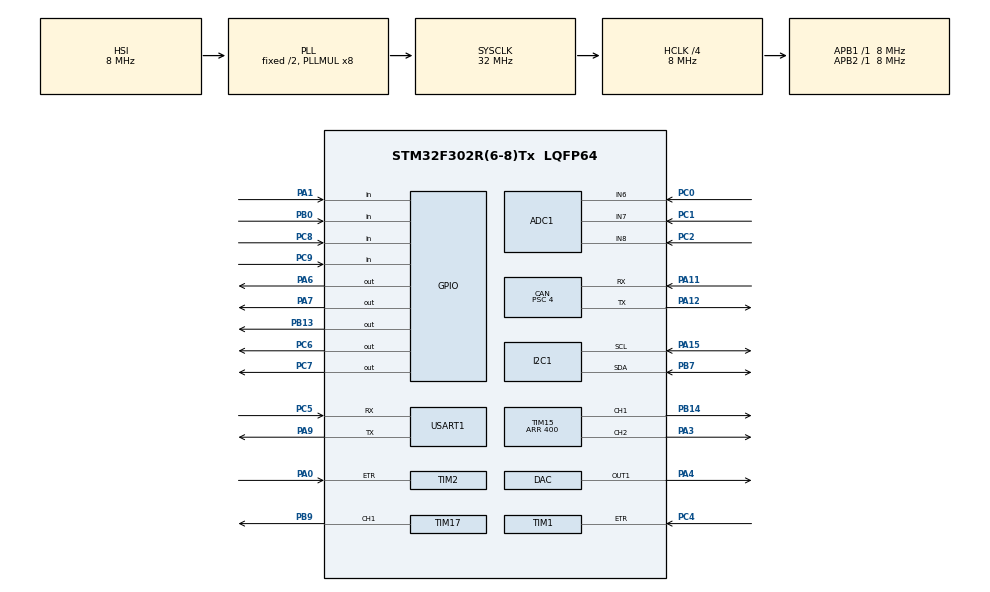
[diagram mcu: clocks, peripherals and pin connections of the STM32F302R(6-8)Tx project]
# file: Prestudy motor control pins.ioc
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ADC1.Channel-0\#ChannelRegularConversion=ADC_CHANNEL_8
ADC1.Channel-1\#ChannelRegularConversion=ADC_CHANNEL_7
ADC1.Channel-3\#ChannelRegularConversion=ADC_CHANNEL_6
ADC1.DMAContinuousRequests=ENABLE
ADC1.ExternalTrigConv=ADC_EXTERNALTRIGCONV_T15_TRGO
ADC1.NbrOfConversion=3
ADC1.NbrOfConversionFlag=1
ADC1.Offset-0\#ChannelRegularConversion=0
ADC1.Offset-1\#ChannelRegularConversion=0
ADC1.Offset-3\#ChannelRegularConversion=0
ADC1.OffsetNumber-0\#ChannelRegularConversion=ADC_OFFSET_NONE
ADC1.OffsetNumber-1\#ChannelRegularConversion=ADC_OFFSET_NONE
ADC1.OffsetNumber-3\#ChannelRegularConversion=ADC_OFFSET_NONE
ADC1.Rank-0\#ChannelRegularConversion=1
ADC1.Rank-1\#ChannelRegularConversion=2
ADC1.Rank-3\#ChannelRegularConversion=3
ADC1.SamplingTime-0\#ChannelRegularConversion=ADC_SAMPLETIME_61CYCLES_5
ADC1.SamplingTime-1\#ChannelRegularConversion=ADC_SAMPLETIME_19CYCLES_5
ADC1.SamplingTime-3\#ChannelRegularConversion=ADC_SAMPLETIME_19CYCLES_5
ADC1.SamplingTimeOPAMP-3\#ChannelRegularConversion=ADC_SAMPLETIME_7CYCLES_5
ADC1.SubFamily=STM32F302x8
ADC1.master=1
CAN.BS1=CAN_BS1_6TQ
CAN.CalculateBaudRate=250000
CAN.CalculateTimeBit=4000.00
CAN.CalculateTimeQuantum=500.0
CAN.Prescaler=4
Dma.ADC1.0.Direction=DMA_PERIPH_TO_MEMORY
Dma.ADC1.0.Instance=DMA1_Channel1
Dma.ADC1.0.MemDataAlignment=DMA_MDATAALIGN_HALFWORD
Dma.ADC1.0.MemInc=DMA_MINC_ENABLE
Dma.ADC1.0.Mode=DMA_CIRCULAR
Dma.ADC1.0.PeriphDataAlignment=DMA_PDATAALIGN_HALFWORD
Dma.ADC1.0.PeriphInc=DMA_PINC_DISABLE
Dma.ADC1.0.Priority=DMA_PRIORITY_MEDIUM
Dma.Request0=ADC1
Mcu.Family=STM32F3
Mcu.Name=STM32F302R(6-8)Tx
Mcu.Package=LQFP64
NVIC.PriorityGroup=NVIC_PRIORITYGROUP_4
NVIC.USB_LP_CAN_RX0_IRQn=true\:0\:0\:false\:false\:true\:true\:true
PA0.Signal=S_TIM2_CH1_ETR
PA1.Signal=GPIO_Input
PA11.Mode=CAN_Activate
PA11.Signal=CAN_RX
PA12.Mode=CAN_Activate
PA12.Signal=CAN_TX
PA13.Mode=Serial_Wire
PA13.Signal=SYS_JTMS-SWDIO
PA14.Mode=Serial_Wire
PA14.Signal=SYS_JTCK-SWCLK
PA15.Mode=I2C
PA15.Signal=I2C1_SCL
PA3.Signal=S_TIM15_CH2
PA4.Signal=COMP_DAC1_group
PA6.GPIO_PuPd=GPIO_PULLDOWN
PA6.Signal=GPIO_Output
PA7.GPIO_PuPd=GPIO_PULLDOWN
PA7.Signal=GPIO_Output
PA9.Mode=Asynchronous
PA9.Signal=USART1_TX
PB0.Signal=GPIO_Input
PB13.Signal=GPIO_Output
PB14.Signal=S_TIM15_CH1
PB3.Signal=SYS_JTDO-TRACESWO
PB7.Mode=I2C
PB7.Signal=I2C1_SDA
PB9.Signal=S_TIM17_CH1
PC0.Signal=ADCx_IN6
PC1.Signal=ADCx_IN7
PC2.Signal=ADCx_IN8
PC4.Signal=S_TIM1_ETR
PC5.Mode=Asynchronous
PC5.Signal=USART1_RX
PC6.GPIO_PuPd=GPIO_PULLDOWN
PC6.Signal=GPIO_Output
PC7.GPIO_PuPd=GPIO_PULLDOWN
PC7.Signal=GPIO_Output
PC8.GPIO_PuPd=GPIO_PULLUP
PC8.Signal=GPIO_Input
PC9.GPIO_PuPd=GPIO_PULLUP
PC9.Signal=GPIO_Input
ProjectManager.HeapSize=0x200
ProjectManager.StackSize=0x400
ProjectManager.TargetToolchain=STM32CubeIDE
RCC.ADC12PRES=RCC_ADC1PLLCLK_DIV2
RCC.AHBCLKDivider=RCC_SYSCLK_DIV4
RCC.AHBFreq_Value=8000000
RCC.APB1Freq_Value=8000000
RCC.APB1TimFreq_Value=8000000
RCC.APB2Freq_Value=8000000
RCC.APB2TimFreq_Value=8000000
RCC.CortexFreq_Value=8000000
RCC.HCLKFreq_Value=8000000
RCC.HSE_VALUE=8000000
RCC.HSI_VALUE=8000000
RCC.LSE_VALUE=32768
RCC.PLLMUL=RCC_PLL_MUL8
RCC.SYSCLKFreq_VALUE=32000000
RCC.SYSCLKSourceVirtual=RCC_SYSCLKSOURCE_PLLCLK
RCC.USBFreq_Value=32000000
SH.ADCx_IN6.0=ADC1_IN6,IN6-Single-Ended
SH.ADCx_IN7.0=ADC1_IN7,IN7-Single-Ended
SH.ADCx_IN8.0=ADC1_IN8,IN8-Single-Ended
SH.COMP_DAC1_group.0=DAC_OUT1,DAC_OUT1
SH.S_TIM15_CH1.0=TIM15_CH1,PWM Generation1 CH1
SH.S_TIM15_CH2.0=TIM15_CH2,PWM Generation2 CH2
SH.S_TIM17_CH1.0=TIM17_CH1,PWM Generation1 CH1
SH.S_TIM1_ETR.0=TIM1_ETR,TriggerSource_ETR
SH.S_TIM2_CH1_ETR.0=TIM2_ETR,TriggerSource_ETR
TIM1.TIM_MasterSlaveMode=TIM_MASTERSLAVEMODE_DISABLE
TIM15.AutoReloadPreload=TIM_AUTORELOAD_PRELOAD_ENABLE
TIM15.Channel-PWM\ Generation1\ CH1=TIM_CHANNEL_1
TIM15.Channel-PWM\ Generation2\ CH2=TIM_CHANNEL_2
TIM15.OCMode_PWM-PWM\ Generation1\ CH1=TIM_OCMODE_PWM1
TIM15.OCMode_PWM-PWM\ Generation2\ CH2=TIM_OCMODE_PWM1
TIM15.Period=400
TIM15.Pulse-PWM\ Generation1\ CH1=1200
TIM15.Pulse-PWM\ Generation2\ CH2=200
TIM15.TIM_MasterOutputTrigger=TIM_TRGO_UPDATE
TIM17.Channel=TIM_CHANNEL_1
USART1.VirtualMode-Asynchronous=VM_ASYNC
VP_TIM16_VS_ClockSourceINT.Mode=Enable_Timer
VP_TIM17_VS_ClockSourceINT.Mode=Enable_Timer
VP_TIM1_VS_ControllerModeClock.Mode=Clock Mode
VP_TIM2_VS_ControllerModeClock.Mode=Clock Mode
board=custom

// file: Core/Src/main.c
/* USER CODE BEGIN Header */
/**
  ******************************************************************************
  * @file           : main.c
  * @brief          : Main program body
  ******************************************************************************
  * @attention
  *
  * <h2><center>&copy; Copyright (c) 2021 STMicroelectronics.
  * All rights reserved.</center></h2>
  *
  * This software component is licensed by ST under BSD 3-Clause license,
  * the "License"; You may not use this file except in compliance with the
  * License. You may obtain a copy of the License at:
  *                        opensource.org/licenses/BSD-3-Clause
  *
  ******************************************************************************
  */
/* USER CODE END Header */
#include "main.h"

ADC_HandleTypeDef hadc1;
DMA_HandleTypeDef hdma_adc1;

CAN_HandleTypeDef hcan;

DAC_HandleTypeDef hdac;

I2C_HandleTypeDef hi2c1;

TIM_HandleTypeDef htim1;
TIM_HandleTypeDef htim2;
TIM_HandleTypeDef htim15;
TIM_HandleTypeDef htim16;
TIM_HandleTypeDef htim17;

UART_HandleTypeDef huart1;

/* USER CODE BEGIN PV */
CAN_FilterTypeDef sFilterConfig;
CAN_TxHeaderTypeDef TxMessage;
CAN_RxHeaderTypeDef RxMessage;
uint8_t               TxData[8];
uint8_t               RxData[8];
uint32_t              TxMailbox;
/* USER CODE END PV */

void SystemClock_Config(void);
static void MX_GPIO_Init(void);
static void MX_DMA_Init(void);
static void MX_ADC1_Init(void);
static void MX_CAN_Init(void);
static void MX_DAC_Init(void);
static void MX_TIM1_Init(void);
static void MX_TIM15_Init(void);
static void MX_TIM16_Init(void);
static void MX_TIM17_Init(void);
static void MX_I2C1_Init(void);
static void MX_USART1_UART_Init(void);
static void MX_TIM2_Init(void);
/* USER CODE BEGIN PFP */
#define OVERVOLTAGE 29.2
#define ID 1

uint16_t adcBuffer[3];
uint16_t counter = 0;
uint8_t accl = 28;
uint8_t decl = 20;
uint32_t pwm_target_left = 400;
uint32_t pwm_target_right = 400;
uint32_t pid_pwm_target_left = 0;
uint32_t pid_pwm_target_right = 0;
uint32_t pwm_left = 400;
uint32_t pwm_right = 400;
uint32_t pid_pwm_right = 400;
uint32_t pid_pwm_left = 400;
uint8_t GD_FAULT = 0;
uint8_t OV_FAULT = 0;
uint8_t TIMEOUT = 0;
long timertick = 0;
long old_timertick_accl = 0;
long old_timertick_decl = 0;
long temp_timertick = 0;
long timeout_timertick = 0;
int speed_left = 0;
int speed_right = 0;
int previous_speed_left = 0;
int previous_speed_right = 0;

float KP = 0.0;
float KI = 0.0;
float KD = 0.0;
int sampleTime = 0;
int maxPIDlevel = 400;
int minPIDlevel = 0;
int IntegralLeft = 0;
int IntegralRight = 0;

int offsetLeftMotor = 0;
int offsetRightMotor = 0;

/* USER CODE END PFP */

/* USER CODE BEGIN 0 */

/*
void HAL_ADC_ConvCpltCallback(ADC_HandleTypeDef* hadc)
{
	//HAL_GPIO_TogglePin (GPIOB, GPIO_PIN_13);
}
*/

void initPID(float KPvalue, float KIvalue, float KDvalue, int sampleTimeValue)
{
	KP = KPvalue;
	KI = KIvalue;
	KD = KDvalue;
	sampleTime = sampleTimeValue;
}

int calculatePIDLeft(int feedback, int target)
{
	int error = target - feedback;
	IntegralLeft += error;
	if((IntegralLeft * KI) > maxPIDlevel)
	{
		IntegralLeft = maxPIDlevel/KI;
	}
	if(target == 0)
	{
		IntegralLeft = 0;
	}
	int correctionvalue = (KP * error + KI * IntegralLeft);
	if(correctionvalue > maxPIDlevel) correctionvalue = maxPIDlevel;
	else if (correctionvalue < minPIDlevel) correctionvalue = minPIDlevel;
	return correctionvalue;
}

int calculatePIDRight(int feedback, int target)
{
	int error = target - feedback;
	IntegralRight += error;
	if((IntegralRight * KI) > 400)
	{
		IntegralRight = maxPIDlevel/KI;
	}
	if(target == 0)
	{
			IntegralRight = 0;
	}
	int correctionvalue = (KP * error + KI * IntegralRight);
	if(correctionvalue > maxPIDlevel) correctionvalue = maxPIDlevel;
	else if (correctionvalue < minPIDlevel) correctionvalue = minPIDlevel;
	return correctionvalue;
}

void resetTimeout() {
	timeout_timertick = HAL_GetTick();
}

float getInputVoltage()
{
	uint32_t temp = adcBuffer[0];
	uint32_t shuntVoltage = (801 * temp);
	float voltage = (shuntVoltage * 18.414) / 1000000;
	return voltage;
}

void sendACK()
{
	uint32_t mb;
	uint8_t data[] = {ID, 1};
	TxMessage.StdId = 0;
	TxMessage.IDE = CAN_ID_STD;
	TxMessage.RTR = CAN_RTR_DATA;
	TxMessage.DLC = 2;
	TxMessage.TransmitGlobalTime = DISABLE;
	if (HAL_CAN_AddTxMessage(&hcan, &TxMessage, data, &mb) != HAL_OK) {
	    Error_Handler();
	}
}

void sendNACK()
{
	uint32_t mb;
	uint8_t data[] = {ID, 0};
	TxMessage.StdId = 0;
	TxMessage.IDE = CAN_ID_STD;
	TxMessage.RTR = CAN_RTR_DATA;
	TxMessage.DLC = 2;
	TxMessage.TransmitGlobalTime = DISABLE;
	if (HAL_CAN_AddTxMessage(&hcan, &TxMessage, data, &mb) != HAL_OK) {
	    Error_Handler();
	}
}

void setPIDPWMLeft(int PWM)
{
	pwm_left = PWM;
	uint32_t PWM_local = 0;
	HAL_GPIO_WritePin(GPIOC, GPIO_PIN_6, GPIO_PIN_SET);
	if(PWM >= 430)
	{
		HAL_GPIO_WritePin(GPIOA, GPIO_PIN_6, GPIO_PIN_RESET);
		PWM_local = PWM - 400;
	}
	else if(PWM < 370)
	{
		HAL_GPIO_WritePin(GPIOA, GPIO_PIN_6, GPIO_PIN_SET);
		PWM_local = 400 - PWM;
	}
	int temp = PWM_local + 1;
	if(temp > 401)
	{
		temp = 401;
	}
	if(temp < 20)
	{
		temp = 0;
	}
	pid_pwm_target_left = temp;
}

void setPIDPWMRight(int PWM)
{
	pwm_right = PWM;
	uint32_t PWM_local = 0;
	HAL_GPIO_WritePin(GPIOC, GPIO_PIN_7, GPIO_PIN_SET);
	if(PWM >= 430)
	{
		HAL_GPIO_WritePin(GPIOA, GPIO_PIN_7, GPIO_PIN_RESET);
		PWM_local = PWM - 400;
	}
	else if(PWM < 370)
	{
		HAL_GPIO_WritePin(GPIOA, GPIO_PIN_7, GPIO_PIN_SET);
		PWM_local = 400 - PWM;
	}
	int temp = PWM_local + 1;
	if(temp > 401)
	{
		temp = 401;
	}
	if(temp < 20)
	{
		temp = 0;
	}
	pid_pwm_target_right = temp;
}

void setPWMLeft(int PWM)
{
	pwm_left = PWM;
	uint32_t PWM_local = 0;
	HAL_GPIO_WritePin(GPIOC, GPIO_PIN_6, GPIO_PIN_SET);
	if(PWM >= 400)
	{
		HAL_GPIO_WritePin(GPIOA, GPIO_PIN_6, GPIO_PIN_RESET);
		PWM_local = PWM - 400;
	}
	else if(PWM < 400)
	{
		HAL_GPIO_WritePin(GPIOA, GPIO_PIN_6, GPIO_PIN_SET);
		PWM_local = 400 - PWM;
	}
	int temp = PWM_local + 1;
	if(temp > 401)
	{
		temp = 401;
	}
	if(temp < 20)
	{
			temp = 0;
	}
	__HAL_TIM_SET_COMPARE(&htim15, TIM_CHANNEL_1, temp);
}

void setPWMRight(int PWM)
{
	pwm_right = PWM;
	uint32_t PWM_local = 0;
	HAL_GPIO_WritePin(GPIOC, GPIO_PIN_7, GPIO_PIN_SET);
	if(PWM >= 400)
	{
		HAL_GPIO_WritePin(GPIOA, GPIO_PIN_7, GPIO_PIN_RESET);
		PWM_local = PWM - 400;
	}
	else if(PWM < 400)
	{
		HAL_GPIO_WritePin(GPIOA, GPIO_PIN_7, GPIO_PIN_SET);
		PWM_local = 400 - PWM;
	}
	int temp = PWM_local + 1;
	if(temp > 401)
	{
		temp = 401;
	}
	if(temp < 20)
	{
		temp = 0;
	}
	__HAL_TIM_SET_COMPARE(&htim15, TIM_CHANNEL_2, temp);
}

void HAL_CAN_RxFifo0MsgPendingCallback(CAN_HandleTypeDef *hcan)
{
  //HAL_CAN_IRQHandler(&hcan);
  /* USER CODE BEGIN CAN1_RX0_IRQn 1 */
  HAL_CAN_GetRxMessage(hcan, CAN_RX_FIFO0, &RxMessage, RxData);
  uint32_t mb;
  uint32_t shuntVoltage;
  uint32_t temp_speed, temp_speed_left, temp_speed_right;
  uint8_t currentLSB, currentMSB, voltageLSB, voltageMSB;
  float current, voltage;
  uint8_t data[] = {ID,0,0,0,0,0,0,0};
  resetTimeout();
  switch(RxData[0])
  {
  	  case 0:
  		  //----------- Coast Brake -----------//
  		  //Set sleep pins low
  		  HAL_GPIO_WritePin(GPIOC, GPIO_PIN_6, GPIO_PIN_RESET);
  		  HAL_GPIO_WritePin(GPIOC, GPIO_PIN_7, GPIO_PIN_RESET);
  		  //Set Phase pins low
  		  HAL_GPIO_WritePin(GPIOA, GPIO_PIN_6, GPIO_PIN_RESET);
  		  HAL_GPIO_WritePin(GPIOA, GPIO_PIN_7, GPIO_PIN_RESET);
  		  pwm_left = 400;
  		  pwm_target_left = 400;
  		  pwm_right = 400;
  		  pwm_target_right = 400;
  		  sendACK();
  		  break;
  	  case 1:
  		  //----------- Dynamic Brake (slow brake) -----------//
  		  //Set sleep pins high
  		  HAL_GPIO_WritePin(GPIOC, GPIO_PIN_6, GPIO_PIN_SET);
  		  HAL_GPIO_WritePin(GPIOC, GPIO_PIN_7, GPIO_PIN_SET);
  		  //Set Phase pins low
  		  HAL_GPIO_WritePin(GPIOA, GPIO_PIN_6, GPIO_PIN_RESET);
  		  HAL_GPIO_WritePin(GPIOA, GPIO_PIN_7, GPIO_PIN_RESET);
  		  pwm_target_right = 400;
		  pwm_target_left = 400;
  		  setPWMLeft(400);
  		  setPWMRight(400);
  		  sendACK();
  		  break;
  	  case 2:
  		  //----------- Regenerative brake -----------//
  		  pwm_target_right = 400;
		  pwm_target_left = 400;
  		  sendACK();
  		  break;
  	  case 3:
  		  //----------- Forward drive -----------//
  		  if(RxData[1] > 800)
  		  {
  			  pwm_target_left = 800;
  			  pwm_target_right = 0;
  		  }
  		  else
  		  {
  			  pwm_target_left = 400 + RxData[1];
  			  pwm_target_right = 400 - RxData[1];
  		  }
  		  sendACK();
  		  break;
  	  case 4:
  		  //----------- Reverse drive -----------//
  		  if(RxData[1] > 400)
  		  {
  		  	  pwm_target_left = 0;
  		  	  pwm_target_right = 800;
  		  }
  		  else
  		  {
  			  pwm_target_left = 400 - RxData[1];
  		  	  pwm_target_right = 400 + RxData[1];
  		  }
  		  sendACK();
  		  break;
  	  case 5:
  		  //----------- Manual left motor -----------//
  		  temp_speed = (RxData[1] << 8) + RxData[2];
  		  if(temp_speed > 800) pwm_target_left = 800;
  		  else pwm_target_left = temp_speed;
  		  sendACK();
  		  break;
  	  case 6:
  		  //----------- Manual right motor -----------//
  		  temp_speed = (RxData[1] << 8) + RxData[2];
  		  if(temp_speed > 800) pwm_target_right = 800;
  		  else pwm_target_right = temp_speed;
  		  sendACK();
  		  break;
  	  case 7:
  		  //----------- Manual right/left motor -----------//
  		  temp_speed_left = (RxData[1] << 8) + RxData[2];
  		  temp_speed_right = (RxData[3] << 8) + RxData[4];
  		  if(temp_speed_left > 800) pwm_target_left = 800;
  		  else pwm_target_left = temp_speed_left;
  		  if(temp_speed_right > 800) pwm_target_right = 800;
  		  else pwm_target_right = temp_speed_right;
  		  sendACK();

  		  break;
  	  case 10:
  		  //----------- Set acceleration -----------//
  		  if(RxData[1] > 100) accl = 100;
  		  else accl = RxData[1];
  		  sendACK();
  		  break;
  	  case 11:
  		  //----------- Set deceleration -----------//
  		  if(RxData[1] > 100) decl = 100;
  		  else decl = RxData[1];
  		  sendACK();
  		  break;
  	  case 12:
  		  //----------- Set max torque -----------//
  		  if(RxData[1] > 100) DAC1->DHR12R1 = 4024;
  		  else DAC1->DHR12R1 = RxData[1] * 40;
  		  sendACK();
  		  break;
  	  case 13:
  		  //----------- Reset faults -----------//
  		  OV_FAULT = 0;
  		  GD_FAULT = 0;
  		  sendACK();
  		  break;
  	  case 100:
  		  //----------- Left current -----------//
  		  if((adcBuffer[1] - offsetLeftMotor) > 0) mb = adcBuffer[1] - offsetLeftMotor;
  		  else mb = 0;
  		  shuntVoltage = (801 * mb) / 20;
  		  current = (shuntVoltage / 10000.0);
  		  currentMSB = current;
  		  currentLSB = (current - currentMSB)*100;
  	  	  data[1] = currentMSB;
  	  	  data[2] = currentLSB;
  	  	  TxMessage.StdId = 0;
  	  	  TxMessage.IDE = CAN_ID_STD;
  	  	  TxMessage.RTR = CAN_RTR_DATA;
  	  	  TxMessage.DLC = 3;
  	  	  TxMessage.TransmitGlobalTime = DISABLE;
  	  	  if (HAL_CAN_AddTxMessage(hcan, &TxMessage, data, &mb) != HAL_OK) {
  	  		  Error_Handler();
  	  	  }
  		  break;
  	  case 101:
  		  //----------- Right current -----------//
  		  if((adcBuffer[2] - offsetRightMotor) > 0) mb = adcBuffer[2] - offsetRightMotor;
  		  else mb = 0;
  		  shuntVoltage = (801 * mb) / 20;
  		  current = (shuntVoltage / 10000.0);
  		  currentMSB = current;
  		  currentLSB = (current - currentMSB)*100;
  		  data[1] = currentMSB;
  		  data[2] = currentLSB;
  	  	  TxMessage.StdId = 0;
  	  	  TxMessage.IDE = CAN_ID_STD;
  	  	  TxMessage.RTR = CAN_RTR_DATA;
  	  	  TxMessage.DLC = 3;
  	  	  TxMessage.TransmitGlobalTime = DISABLE;
  	  	  if (HAL_CAN_AddTxMessage(hcan, &TxMessage, data, &mb) != HAL_OK) {
  	  		  Error_Handler();
  	  	  }
  		  break;
  	  case 102:
  		  //----------- Battery voltage -----------//
  		  voltage = getInputVoltage();
  		  voltageMSB = voltage;
  		  voltageLSB = (voltage - voltageMSB) * 100;
  		  data[1] = voltageMSB;
  		  data[2] = voltageLSB;
  		  TxMessage.StdId = 0;
  		  TxMessage.IDE = CAN_ID_STD;
  		  TxMessage.RTR = CAN_RTR_DATA;
  		  TxMessage.DLC = 3;
  		  TxMessage.TransmitGlobalTime = DISABLE;
  		  if (HAL_CAN_AddTxMessage(hcan, &TxMessage, data, &mb) != HAL_OK) {
  			  Error_Handler();
  		  }
  		  break;
  	  case 103:
  		  //----------- Left speed -----------//
  		  data[1] = speed_left;
  		  TxMessage.StdId = 0;
  		  TxMessage.IDE = CAN_ID_STD;
  		  TxMessage.RTR = CAN_RTR_DATA;
  		  TxMessage.DLC = 2;
  		  TxMessage.TransmitGlobalTime = DISABLE;
  		  if (HAL_CAN_AddTxMessage(hcan, &TxMessage, data, &mb) != HAL_OK) {
  		  	Error_Handler();
  		  }
  		  break;
  	  case 104:
  		  //----------- Right speed -----------//
  		  data[1] = speed_right;
  		  TxMessage.StdId = 0;
  		  TxMessage.IDE = CAN_ID_STD;
  		  TxMessage.RTR = CAN_RTR_DATA;
  		  TxMessage.DLC = 2;
  		  TxMessage.TransmitGlobalTime = DISABLE;
  		  if (HAL_CAN_AddTxMessage(hcan, &TxMessage, data, &mb) != HAL_OK) {
  		  	Error_Handler();
  		  }
  		  break;
  	  case 105:
  		  //----------- Get Status -----------//
  		  data[1] = OV_FAULT;
  		  data[2] = GD_FAULT;
  		  data[3] = TIMEOUT;
  		  TxMessage.StdId = 0;
  		  TxMessage.IDE = CAN_ID_STD;
  		  TxMessage.RTR = CAN_RTR_DATA;
  		  TxMessage.DLC = 4;
  		  TxMessage.TransmitGlobalTime = DISABLE;
  		  if (HAL_CAN_AddTxMessage(hcan, &TxMessage, data, &mb) != HAL_OK) {
  		    Error_Handler();
  		  }
  		  break;
  };
  counter ++;

  /* USER CODE END CAN1_RX0_IRQn 1 */
}

void HAL_SYSTICK_Callback(void)  {

}

/* USER CODE END 0 */

int main(void)
{

  /* MCU Configuration--------------------------------------------------------*/

  /* Reset of all peripherals, Initializes the Flash interface and the Systick. */
  HAL_Init();

  /* Configure the system clock */
  SystemClock_Config();

  /* Initialize all configured peripherals */
  MX_GPIO_Init();
  MX_DMA_Init();
  MX_ADC1_Init();
  MX_CAN_Init();
  MX_DAC_Init();
  MX_TIM1_Init();
  MX_TIM15_Init();
  MX_TIM16_Init();
  MX_TIM17_Init();
  MX_I2C1_Init();
  MX_USART1_UART_Init();
  MX_TIM2_Init();
  /* USER CODE BEGIN 2 */
  HAL_DAC_Start(&hdac, DAC_CHANNEL_1);
  //HAL_TIM_Base_Start_IT(&htim6);
  HAL_TIM_PWM_Start(&htim15, TIM_CHANNEL_1);
  HAL_TIM_PWM_Start(&htim15, TIM_CHANNEL_2);
  HAL_ADCEx_Calibration_Start(&hadc1, ADC_SINGLE_ENDED);
  HAL_ADC_Start_DMA(&hadc1, (uint32_t*)adcBuffer, 3);
  HAL_NVIC_SetPriority(CAN_RX0_IRQn, 0, 0);
  HAL_NVIC_EnableIRQ(CAN_RX0_IRQn);
  //SysTick_Config(SystemCoreClock / 800000);
  HAL_SYSTICK_Config(HAL_RCC_GetHCLKFreq()/800000000);
  HAL_SYSTICK_CLKSourceConfig(SYSTICK_CLKSOURCE_HCLK);
  HAL_NVIC_SetPriority(SysTick_IRQn, 0, 0);
  DAC1->DHR12R1 = 4000;
  HAL_TIM_Base_Start_IT(&htim1);
  HAL_TIM_Base_Start_IT(&htim2);
  setPWMLeft(400);
  setPWMRight(400);
  initPID(0.08, 0.5 ,0,0);
  HAL_Delay(100);
  offsetLeftMotor = adcBuffer[1];
  offsetRightMotor = adcBuffer[2];
  /* USER CODE END 2 */

  /* Infinite loop */
  while (1)
  {
	  timertick = HAL_GetTick();
	  if(OV_FAULT == 1)
	  {
		  setPWMLeft(400);
	  	  setPWMRight(400);
	   	  HAL_GPIO_WritePin(GPIOC, GPIO_PIN_6, GPIO_PIN_SET);
	   	  HAL_GPIO_WritePin(GPIOC, GPIO_PIN_7, GPIO_PIN_SET);
	   	  HAL_Delay(100);
	  }
	  else if(TIMEOUT == 1)
	  {
		  //Set sleep pins low
		  HAL_GPIO_WritePin(GPIOC, GPIO_PIN_6, GPIO_PIN_RESET);
		  HAL_GPIO_WritePin(GPIOC, GPIO_PIN_7, GPIO_PIN_RESET);
		  //Set Phase pins low
		  HAL_GPIO_WritePin(GPIOA, GPIO_PIN_6, GPIO_PIN_RESET);
		  HAL_GPIO_WritePin(GPIOA, GPIO_PIN_7, GPIO_PIN_RESET);
		  pwm_left = 400;
		  pwm_target_left = 400;
		  pwm_right = 400;
		  pwm_target_right = 400;
		  HAL_Delay(100);
	  }
	  else if(pwm_target_left != pwm_left || pwm_target_right != pwm_right)
	  {
		  if((timertick - old_timertick_accl) >= accl)
		  {
			  old_timertick_accl = timertick;
			  if(pwm_left < 400)
			  {
				  if(pwm_target_left < pwm_left)
				  {
					  if((pwm_left - pwm_target_left) > 10) setPIDPWMLeft(pwm_left - 10);
					  else setPIDPWMLeft(pwm_left - 1);
				  }
			  }
			  else
			  {
				  if(pwm_target_left > pwm_left)
				  {
					  if((pwm_target_left - pwm_left) > 10) setPIDPWMLeft(pwm_left + 10);
					  else setPIDPWMLeft(pwm_left + 1);
				  }
			  }
			  if(pwm_right < 400)
			  {
				  if(pwm_target_right < pwm_right)
				  {
					  if((pwm_right - pwm_target_right) > 10) setPIDPWMRight(pwm_right - 10);
					  else setPIDPWMRight(pwm_right - 1);
				  }
			  }
			  else
			  {
				  if(pwm_target_right > pwm_right)
				  {
					  if((pwm_target_right - pwm_right) > 10) setPIDPWMRight(pwm_right + 10);
					  else setPIDPWMRight(pwm_right + 1);
				  }
			  }
		  }
		  if((timertick - old_timertick_decl) >= decl)
		  {
			  old_timertick_decl = timertick;
			  if(pwm_left < 400)
			  {
				  if(pwm_target_left > pwm_left)
				  {
					  if((pwm_target_left - pwm_left) > 10) setPIDPWMLeft(pwm_left + 10);
					  else setPIDPWMLeft(pwm_left + 1);
				  }
			  }
			  else
			  {
				  if(pwm_target_left < pwm_left)
				  {
				  	  if((pwm_left - pwm_target_left) > 10) setPIDPWMLeft(pwm_left - 10);
				  	  else setPIDPWMLeft(pwm_left - 1);
				  }
			  }
			  if(pwm_right < 400)
			  {
				  if(pwm_target_right > pwm_right)
				  {
				  	  if((pwm_target_right - pwm_right) > 10) setPIDPWMRight(pwm_right + 10);
				  	  else setPIDPWMRight(pwm_right + 1);
				  }
			  }
			  else
			  {
				  if(pwm_target_right < pwm_right)
				  {
					  if((pwm_right - pwm_target_right) > 10) setPIDPWMRight(pwm_right - 10);
					  else setPIDPWMRight(pwm_right - 1);
				  }
			  }
		  }
  	  }
  	  float inputVoltage = getInputVoltage();
  	  if(inputVoltage > OVERVOLTAGE && OV_FAULT == 0)
  	  {
  		  OV_FAULT = 1;
  	  }
  	  if((!HAL_GPIO_ReadPin(GPIOC, GPIO_PIN_8) || !HAL_GPIO_ReadPin(GPIOC, GPIO_PIN_9)))
  	  {
  		  GD_FAULT = 1;
  	  }
  	  else{
  		  GD_FAULT = 0;
  	  }
  	  if((timertick - timeout_timertick) >= 5000)
  	  {
  		  TIMEOUT = 1;
  	  }
  	  else {
  		  TIMEOUT = 0;
  	  }
  	  if((timertick - temp_timertick) >= 50)
  	  {
  		  previous_speed_left = speed_left;
  		  previous_speed_right = speed_right;
  		  speed_left = (previous_speed_left / 2) + TIM1 -> CNT;
  		  speed_right = (previous_speed_right / 2) + TIM2 -> CNT;
  		  TIM1 -> CNT = 0;
  		  TIM2 -> CNT = 0;
  		  temp_timertick = timertick;
  		  int pidresult = calculatePIDLeft(speed_left, pid_pwm_target_left / 2.66);
  		  if(pidresult > 30) __HAL_TIM_SET_COMPARE(&htim15, TIM_CHANNEL_1, pidresult);
  		  else __HAL_TIM_SET_COMPARE(&htim15, TIM_CHANNEL_1, 0);
  		  pidresult = calculatePIDRight(speed_right, pid_pwm_target_right / 2.66);
  		  if(pidresult > 30) __HAL_TIM_SET_COMPARE(&htim15, TIM_CHANNEL_2, pidresult);
  		  else __HAL_TIM_SET_COMPARE(&htim15, TIM_CHANNEL_2, 0);

  	  }
  }
}

void SystemClock_Config(void)
{
  RCC_OscInitTypeDef RCC_OscInitStruct = {0};
  RCC_ClkInitTypeDef RCC_ClkInitStruct = {0};
  RCC_PeriphCLKInitTypeDef PeriphClkInit = {0};

  /** Initializes the RCC Oscillators according to the specified parameters
  * in the RCC_OscInitTypeDef structure.
  */
  RCC_OscInitStruct.OscillatorType = RCC_OSCILLATORTYPE_HSI;
  RCC_OscInitStruct.HSIState = RCC_HSI_ON;
  RCC_OscInitStruct.HSICalibrationValue = RCC_HSICALIBRATION_DEFAULT;
  RCC_OscInitStruct.PLL.PLLState = RCC_PLL_ON;
  RCC_OscInitStruct.PLL.PLLSource = RCC_PLLSOURCE_HSI;
  RCC_OscInitStruct.PLL.PLLMUL = RCC_PLL_MUL8;
  if (HAL_RCC_OscConfig(&RCC_OscInitStruct) != HAL_OK)
  {
    Error_Handler();
  }
  /** Initializes the CPU, AHB and APB buses clocks
  */
  RCC_ClkInitStruct.ClockType = RCC_CLOCKTYPE_HCLK|RCC_CLOCKTYPE_SYSCLK
                              |RCC_CLOCKTYPE_PCLK1|RCC_CLOCKTYPE_PCLK2;
  RCC_ClkInitStruct.SYSCLKSource = RCC_SYSCLKSOURCE_PLLCLK;
  RCC_ClkInitStruct.AHBCLKDivider = RCC_SYSCLK_DIV4;
  RCC_ClkInitStruct.APB1CLKDivider = RCC_HCLK_DIV1;
  RCC_ClkInitStruct.APB2CLKDivider = RCC_HCLK_DIV1;

  if (HAL_RCC_ClockConfig(&RCC_ClkInitStruct, FLASH_LATENCY_0) != HAL_OK)
  {
    Error_Handler();
  }
  PeriphClkInit.PeriphClockSelection = RCC_PERIPHCLK_USART1|RCC_PERIPHCLK_I2C1
                              |RCC_PERIPHCLK_TIM1|RCC_PERIPHCLK_TIM15
                              |RCC_PERIPHCLK_TIM16|RCC_PERIPHCLK_TIM17
                              |RCC_PERIPHCLK_ADC1;
  PeriphClkInit.Usart1ClockSelection = RCC_USART1CLKSOURCE_PCLK1;
  PeriphClkInit.I2c1ClockSelection = RCC_I2C1CLKSOURCE_HSI;
  PeriphClkInit.Tim1ClockSelection = RCC_TIM1CLK_HCLK;
  PeriphClkInit.Tim15ClockSelection = RCC_TIM15CLK_HCLK;
  PeriphClkInit.Tim16ClockSelection = RCC_TIM16CLK_HCLK;
  PeriphClkInit.Tim17ClockSelection = RCC_TIM17CLK_HCLK;
  PeriphClkInit.Adc1ClockSelection = RCC_ADC1PLLCLK_DIV2;

  if (HAL_RCCEx_PeriphCLKConfig(&PeriphClkInit) != HAL_OK)
  {
    Error_Handler();
  }
}

static void MX_ADC1_Init(void)
{

  ADC_ChannelConfTypeDef sConfig = {0};

  /** Common config
  */
  hadc1.Instance = ADC1;
  hadc1.Init.ClockPrescaler = ADC_CLOCK_ASYNC_DIV1;
  hadc1.Init.Resolution = ADC_RESOLUTION_12B;
  hadc1.Init.ScanConvMode = ADC_SCAN_ENABLE;
  hadc1.Init.ContinuousConvMode = DISABLE;
  hadc1.Init.DiscontinuousConvMode = DISABLE;
  hadc1.Init.ExternalTrigConvEdge = ADC_EXTERNALTRIGCONVEDGE_RISING;
  hadc1.Init.ExternalTrigConv = ADC_EXTERNALTRIGCONV_T15_TRGO;
  hadc1.Init.DataAlign = ADC_DATAALIGN_RIGHT;
  hadc1.Init.NbrOfConversion = 3;
  hadc1.Init.DMAContinuousRequests = ENABLE;
  hadc1.Init.EOCSelection = ADC_EOC_SINGLE_CONV;
  hadc1.Init.LowPowerAutoWait = DISABLE;
  hadc1.Init.Overrun = ADC_OVR_DATA_OVERWRITTEN;
  if (HAL_ADC_Init(&hadc1) != HAL_OK)
  {
    Error_Handler();
  }
  /** Configure Regular Channel
  */
  sConfig.Channel = ADC_CHANNEL_8;
  sConfig.Rank = ADC_REGULAR_RANK_1;
  sConfig.SingleDiff = ADC_SINGLE_ENDED;
  sConfig.SamplingTime = ADC_SAMPLETIME_61CYCLES_5;
  sConfig.OffsetNumber = ADC_OFFSET_NONE;
  sConfig.Offset = 0;
  if (HAL_ADC_ConfigChannel(&hadc1, &sConfig) != HAL_OK)
  {
    Error_Handler();
  }
  /** Configure Regular Channel
  */
  sConfig.Channel = ADC_CHANNEL_7;
  sConfig.Rank = ADC_REGULAR_RANK_2;
  sConfig.SamplingTime = ADC_SAMPLETIME_19CYCLES_5;
  if (HAL_ADC_ConfigChannel(&hadc1, &sConfig) != HAL_OK)
  {
    Error_Handler();
  }
  /** Configure Regular Channel
  */
  sConfig.Channel = ADC_CHANNEL_6;
  sConfig.Rank = ADC_REGULAR_RANK_3;
  if (HAL_ADC_ConfigChannel(&hadc1, &sConfig) != HAL_OK)
  {
    Error_Handler();
  }

}

static void MX_CAN_Init(void)
{

  hcan.Instance = CAN;
  hcan.Init.Prescaler = 4;
  hcan.Init.Mode = CAN_MODE_NORMAL;
  hcan.Init.SyncJumpWidth = CAN_SJW_1TQ;
  hcan.Init.TimeSeg1 = CAN_BS1_6TQ;
  hcan.Init.TimeSeg2 = CAN_BS2_1TQ;
  hcan.Init.TimeTriggeredMode = DISABLE;
  hcan.Init.AutoBusOff = DISABLE;
  hcan.Init.AutoWakeUp = DISABLE;
  hcan.Init.AutoRetransmission = DISABLE;
  hcan.Init.ReceiveFifoLocked = DISABLE;
  hcan.Init.TransmitFifoPriority = DISABLE;
  if (HAL_CAN_Init(&hcan) != HAL_OK)
  {
    Error_Handler();
  }
  /* USER CODE BEGIN CAN_Init 2 */
  CAN_FilterTypeDef sf;
    sf.FilterMaskIdHigh = 0xFFFF;
    sf.FilterMaskIdLow = 0;
    sf.FilterFIFOAssignment = CAN_FILTER_FIFO0;
    sf.FilterBank = 0;
    sf.FilterMode = CAN_FILTERMODE_IDMASK;
    sf.FilterScale = CAN_FILTERSCALE_32BIT;
    sf.FilterActivation = CAN_FILTER_ENABLE;
    sf.FilterIdLow= 0;
    sf.FilterIdHigh = 0x001 << 5;
    if (HAL_CAN_ConfigFilter(&hcan, &sf) != HAL_OK) {
      Error_Handler();
    }
    if (HAL_CAN_ActivateNotification(&hcan, CAN_IT_RX_FIFO0_MSG_PENDING) != HAL_OK) {
        Error_Handler();
    }

    if (HAL_CAN_Start(&hcan) != HAL_OK) {
      Error_Handler();
    }

  /* USER CODE END CAN_Init 2 */

}

static void MX_DAC_Init(void)
{

  DAC_ChannelConfTypeDef sConfig = {0};

  /** DAC Initialization
  */
  hdac.Instance = DAC;
  if (HAL_DAC_Init(&hdac) != HAL_OK)
  {
    Error_Handler();
  }
  /** DAC channel OUT1 config
  */
  sConfig.DAC_Trigger = DAC_TRIGGER_NONE;
  sConfig.DAC_OutputBuffer = DAC_OUTPUTBUFFER_ENABLE;
  if (HAL_DAC_ConfigChannel(&hdac, &sConfig, DAC_CHANNEL_1) != HAL_OK)
  {
    Error_Handler();
  }

}

static void MX_I2C1_Init(void)
{

  hi2c1.Instance = I2C1;
  hi2c1.Init.Timing = 0x2000090E;
  hi2c1.Init.OwnAddress1 = 0;
  hi2c1.Init.AddressingMode = I2C_ADDRESSINGMODE_7BIT;
  hi2c1.Init.DualAddressMode = I2C_DUALADDRESS_DISABLE;
  hi2c1.Init.OwnAddress2 = 0;
  hi2c1.Init.OwnAddress2Masks = I2C_OA2_NOMASK;
  hi2c1.Init.GeneralCallMode = I2C_GENERALCALL_DISABLE;
  hi2c1.Init.NoStretchMode = I2C_NOSTRETCH_DISABLE;
  if (HAL_I2C_Init(&hi2c1) != HAL_OK)
  {
    Error_Handler();
  }
  /** Configure Analogue filter
  */
  if (HAL_I2CEx_ConfigAnalogFilter(&hi2c1, I2C_ANALOGFILTER_ENABLE) != HAL_OK)
  {
    Error_Handler();
  }
  /** Configure Digital filter
  */
  if (HAL_I2CEx_ConfigDigitalFilter(&hi2c1, 0) != HAL_OK)
  {
    Error_Handler();
  }

}

static void MX_TIM1_Init(void)
{

  TIM_SlaveConfigTypeDef sSlaveConfig = {0};
  TIM_MasterConfigTypeDef sMasterConfig = {0};

  htim1.Instance = TIM1;
  htim1.Init.Prescaler = 0;
  htim1.Init.CounterMode = TIM_COUNTERMODE_UP;
  htim1.Init.Period = 65535;
  htim1.Init.ClockDivision = TIM_CLOCKDIVISION_DIV1;
  htim1.Init.RepetitionCounter = 0;
  htim1.Init.AutoReloadPreload = TIM_AUTORELOAD_PRELOAD_DISABLE;
  if (HAL_TIM_Base_Init(&htim1) != HAL_OK)
  {
    Error_Handler();
  }
  sSlaveConfig.SlaveMode = TIM_SLAVEMODE_EXTERNAL1;
  sSlaveConfig.InputTrigger = TIM_TS_ETRF;
  sSlaveConfig.TriggerPolarity = TIM_TRIGGERPOLARITY_NONINVERTED;
  sSlaveConfig.TriggerPrescaler = TIM_TRIGGERPRESCALER_DIV1;
  sSlaveConfig.TriggerFilter = 0;
  if (HAL_TIM_SlaveConfigSynchro(&htim1, &sSlaveConfig) != HAL_OK)
  {
    Error_Handler();
  }
  sMasterConfig.MasterOutputTrigger = TIM_TRGO_RESET;
  sMasterConfig.MasterOutputTrigger2 = TIM_TRGO2_RESET;
  sMasterConfig.MasterSlaveMode = TIM_MASTERSLAVEMODE_DISABLE;
  if (HAL_TIMEx_MasterConfigSynchronization(&htim1, &sMasterConfig) != HAL_OK)
  {
    Error_Handler();
  }

}

static void MX_TIM2_Init(void)
{

  TIM_SlaveConfigTypeDef sSlaveConfig = {0};
  TIM_MasterConfigTypeDef sMasterConfig = {0};

  htim2.Instance = TIM2;
  htim2.Init.Prescaler = 0;
  htim2.Init.CounterMode = TIM_COUNTERMODE_UP;
  htim2.Init.Period = 4294967295;
  htim2.Init.ClockDivision = TIM_CLOCKDIVISION_DIV1;
  htim2.Init.AutoReloadPreload = TIM_AUTORELOAD_PRELOAD_DISABLE;
  if (HAL_TIM_Base_Init(&htim2) != HAL_OK)
  {
    Error_Handler();
  }
  sSlaveConfig.SlaveMode = TIM_SLAVEMODE_EXTERNAL1;
  sSlaveConfig.InputTrigger = TIM_TS_ETRF;
  sSlaveConfig.TriggerPolarity = TIM_TRIGGERPOLARITY_NONINVERTED;
  sSlaveConfig.TriggerPrescaler = TIM_TRIGGERPRESCALER_DIV1;
  sSlaveConfig.TriggerFilter = 0;
  if (HAL_TIM_SlaveConfigSynchro(&htim2, &sSlaveConfig) != HAL_OK)
  {
    Error_Handler();
  }
  sMasterConfig.MasterOutputTrigger = TIM_TRGO_RESET;
  sMasterConfig.MasterSlaveMode = TIM_MASTERSLAVEMODE_DISABLE;
  if (HAL_TIMEx_MasterConfigSynchronization(&htim2, &sMasterConfig) != HAL_OK)
  {
    Error_Handler();
  }

}

static void MX_TIM15_Init(void)
{

  TIM_MasterConfigTypeDef sMasterConfig = {0};
  TIM_OC_InitTypeDef sConfigOC = {0};
  TIM_BreakDeadTimeConfigTypeDef sBreakDeadTimeConfig = {0};

  htim15.Instance = TIM15;
  htim15.Init.Prescaler = 0;
  htim15.Init.CounterMode = TIM_COUNTERMODE_UP;
  htim15.Init.Period = 400;
  htim15.Init.ClockDivision = TIM_CLOCKDIVISION_DIV1;
  htim15.Init.RepetitionCounter = 0;
  htim15.Init.AutoReloadPreload = TIM_AUTORELOAD_PRELOAD_ENABLE;
  if (HAL_TIM_PWM_Init(&htim15) != HAL_OK)
  {
    Error_Handler();
  }
  sMasterConfig.MasterOutputTrigger = TIM_TRGO_UPDATE;
  sMasterConfig.MasterSlaveMode = TIM_MASTERSLAVEMODE_DISABLE;
  if (HAL_TIMEx_MasterConfigSynchronization(&htim15, &sMasterConfig) != HAL_OK)
  {
    Error_Handler();
  }
  sConfigOC.OCMode = TIM_OCMODE_PWM1;
  sConfigOC.Pulse = 1200;
  sConfigOC.OCPolarity = TIM_OCPOLARITY_HIGH;
  sConfigOC.OCNPolarity = TIM_OCNPOLARITY_HIGH;
  sConfigOC.OCFastMode = TIM_OCFAST_DISABLE;
  sConfigOC.OCIdleState = TIM_OCIDLESTATE_RESET;
  sConfigOC.OCNIdleState = TIM_OCNIDLESTATE_RESET;
  if (HAL_TIM_PWM_ConfigChannel(&htim15, &sConfigOC, TIM_CHANNEL_1) != HAL_OK)
  {
    Error_Handler();
  }
  sConfigOC.Pulse = 200;
  if (HAL_TIM_PWM_ConfigChannel(&htim15, &sConfigOC, TIM_CHANNEL_2) != HAL_OK)
  {
    Error_Handler();
  }
  sBreakDeadTimeConfig.OffStateRunMode = TIM_OSSR_DISABLE;
  sBreakDeadTimeConfig.OffStateIDLEMode = TIM_OSSI_DISABLE;
  sBreakDeadTimeConfig.LockLevel = TIM_LOCKLEVEL_OFF;
  sBreakDeadTimeConfig.DeadTime = 0;
  sBreakDeadTimeConfig.BreakState = TIM_BREAK_DISABLE;
  sBreakDeadTimeConfig.BreakPolarity = TIM_BREAKPOLARITY_HIGH;
  sBreakDeadTimeConfig.BreakFilter = 0;
  sBreakDeadTimeConfig.AutomaticOutput = TIM_AUTOMATICOUTPUT_DISABLE;
  if (HAL_TIMEx_ConfigBreakDeadTime(&htim15, &sBreakDeadTimeConfig) != HAL_OK)
  {
    Error_Handler();
  }
  HAL_TIM_MspPostInit(&htim15);

}

static void MX_TIM16_Init(void)
{

  htim16.Instance = TIM16;
  htim16.Init.Prescaler = 0;
  htim16.Init.CounterMode = TIM_COUNTERMODE_UP;
  htim16.Init.Period = 65535;
  htim16.Init.ClockDivision = TIM_CLOCKDIVISION_DIV1;
  htim16.Init.RepetitionCounter = 0;
  htim16.Init.AutoReloadPreload = TIM_AUTORELOAD_PRELOAD_DISABLE;
  if (HAL_TIM_Base_Init(&htim16) != HAL_OK)
  {
    Error_Handler();
  }

}

static void MX_TIM17_Init(void)
{

  TIM_OC_InitTypeDef sConfigOC = {0};
  TIM_BreakDeadTimeConfigTypeDef sBreakDeadTimeConfig = {0};

  htim17.Instance = TIM17;
  htim17.Init.Prescaler = 0;
  htim17.Init.CounterMode = TIM_COUNTERMODE_UP;
  htim17.Init.Period = 65535;
  htim17.Init.ClockDivision = TIM_CLOCKDIVISION_DIV1;
  htim17.Init.RepetitionCounter = 0;
  htim17.Init.AutoReloadPreload = TIM_AUTORELOAD_PRELOAD_DISABLE;
  if (HAL_TIM_Base_Init(&htim17) != HAL_OK)
  {
    Error_Handler();
  }
  if (HAL_TIM_PWM_Init(&htim17) != HAL_OK)
  {
    Error_Handler();
  }
  sConfigOC.OCMode = TIM_OCMODE_PWM1;
  sConfigOC.Pulse = 0;
  sConfigOC.OCPolarity = TIM_OCPOLARITY_HIGH;
  sConfigOC.OCNPolarity = TIM_OCNPOLARITY_HIGH;
  sConfigOC.OCFastMode = TIM_OCFAST_DISABLE;
  sConfigOC.OCIdleState = TIM_OCIDLESTATE_RESET;
  sConfigOC.OCNIdleState = TIM_OCNIDLESTATE_RESET;
  if (HAL_TIM_PWM_ConfigChannel(&htim17, &sConfigOC, TIM_CHANNEL_1) != HAL_OK)
  {
    Error_Handler();
  }
  sBreakDeadTimeConfig.OffStateRunMode = TIM_OSSR_DISABLE;
  sBreakDeadTimeConfig.OffStateIDLEMode = TIM_OSSI_DISABLE;
  sBreakDeadTimeConfig.LockLevel = TIM_LOCKLEVEL_OFF;
  sBreakDeadTimeConfig.DeadTime = 0;
  sBreakDeadTimeConfig.BreakState = TIM_BREAK_DISABLE;
  sBreakDeadTimeConfig.BreakPolarity = TIM_BREAKPOLARITY_HIGH;
  sBreakDeadTimeConfig.BreakFilter = 0;
  sBreakDeadTimeConfig.AutomaticOutput = TIM_AUTOMATICOUTPUT_DISABLE;
  if (HAL_TIMEx_ConfigBreakDeadTime(&htim17, &sBreakDeadTimeConfig) != HAL_OK)
  {
    Error_Handler();
  }
  HAL_TIM_MspPostInit(&htim17);

}

static void MX_USART1_UART_Init(void)
{

  huart1.Instance = USART1;
  huart1.Init.BaudRate = 38400;
  huart1.Init.WordLength = UART_WORDLENGTH_8B;
  huart1.Init.StopBits = UART_STOPBITS_1;
  huart1.Init.Parity = UART_PARITY_NONE;
  huart1.Init.Mode = UART_MODE_TX_RX;
  huart1.Init.HwFlowCtl = UART_HWCONTROL_NONE;
  huart1.Init.OverSampling = UART_OVERSAMPLING_16;
  huart1.Init.OneBitSampling = UART_ONE_BIT_SAMPLE_DISABLE;
  huart1.AdvancedInit.AdvFeatureInit = UART_ADVFEATURE_NO_INIT;
  if (HAL_UART_Init(&huart1) != HAL_OK)
  {
    Error_Handler();
  }

}

static void MX_DMA_Init(void)
{

  /* DMA controller clock enable */
  __HAL_RCC_DMA1_CLK_ENABLE();

}

static void MX_GPIO_Init(void)
{
  GPIO_InitTypeDef GPIO_InitStruct = {0};

  /* GPIO Ports Clock Enable */
  __HAL_RCC_GPIOC_CLK_ENABLE();
  __HAL_RCC_GPIOA_CLK_ENABLE();
  __HAL_RCC_GPIOB_CLK_ENABLE();

  /*Configure GPIO pin Output Level */
  HAL_GPIO_WritePin(GPIOA, GPIO_PIN_6|GPIO_PIN_7, GPIO_PIN_RESET);

  /*Configure GPIO pin Output Level */
  HAL_GPIO_WritePin(GPIOB, GPIO_PIN_13, GPIO_PIN_RESET);

  /*Configure GPIO pin Output Level */
  HAL_GPIO_WritePin(GPIOC, GPIO_PIN_6|GPIO_PIN_7, GPIO_PIN_RESET);

  /*Configure GPIO pin : PA1 */
  GPIO_InitStruct.Pin = GPIO_PIN_1;
  GPIO_InitStruct.Mode = GPIO_MODE_INPUT;
  GPIO_InitStruct.Pull = GPIO_NOPULL;
  HAL_GPIO_Init(GPIOA, &GPIO_InitStruct);

  /*Configure GPIO pins : PA6 PA7 */
  GPIO_InitStruct.Pin = GPIO_PIN_6|GPIO_PIN_7;
  GPIO_InitStruct.Mode = GPIO_MODE_OUTPUT_PP;
  GPIO_InitStruct.Pull = GPIO_PULLDOWN;
  GPIO_InitStruct.Speed = GPIO_SPEED_FREQ_LOW;
  HAL_GPIO_Init(GPIOA, &GPIO_InitStruct);

  /*Configure GPIO pin : PB0 */
  GPIO_InitStruct.Pin = GPIO_PIN_0;
  GPIO_InitStruct.Mode = GPIO_MODE_INPUT;
  GPIO_InitStruct.Pull = GPIO_NOPULL;
  HAL_GPIO_Init(GPIOB, &GPIO_InitStruct);

  /*Configure GPIO pin : PB13 */
  GPIO_InitStruct.Pin = GPIO_PIN_13;
  GPIO_InitStruct.Mode = GPIO_MODE_OUTPUT_PP;
  GPIO_InitStruct.Pull = GPIO_NOPULL;
  GPIO_InitStruct.Speed = GPIO_SPEED_FREQ_LOW;
  HAL_GPIO_Init(GPIOB, &GPIO_InitStruct);

  /*Configure GPIO pins : PC6 PC7 */
  GPIO_InitStruct.Pin = GPIO_PIN_6|GPIO_PIN_7;
  GPIO_InitStruct.Mode = GPIO_MODE_OUTPUT_PP;
  GPIO_InitStruct.Pull = GPIO_PULLDOWN;
  GPIO_InitStruct.Speed = GPIO_SPEED_FREQ_LOW;
  HAL_GPIO_Init(GPIOC, &GPIO_InitStruct);

  /*Configure GPIO pins : PC8 PC9 */
  GPIO_InitStruct.Pin = GPIO_PIN_8|GPIO_PIN_9;
  GPIO_InitStruct.Mode = GPIO_MODE_INPUT;
  GPIO_InitStruct.Pull = GPIO_PULLUP;
  HAL_GPIO_Init(GPIOC, &GPIO_InitStruct);

}

void Error_Handler(void)
{
  __disable_irq();
  while (1)
  {
  }
}

/************************ (C) COPYRIGHT STMicroelectronics *****END OF FILE****/
